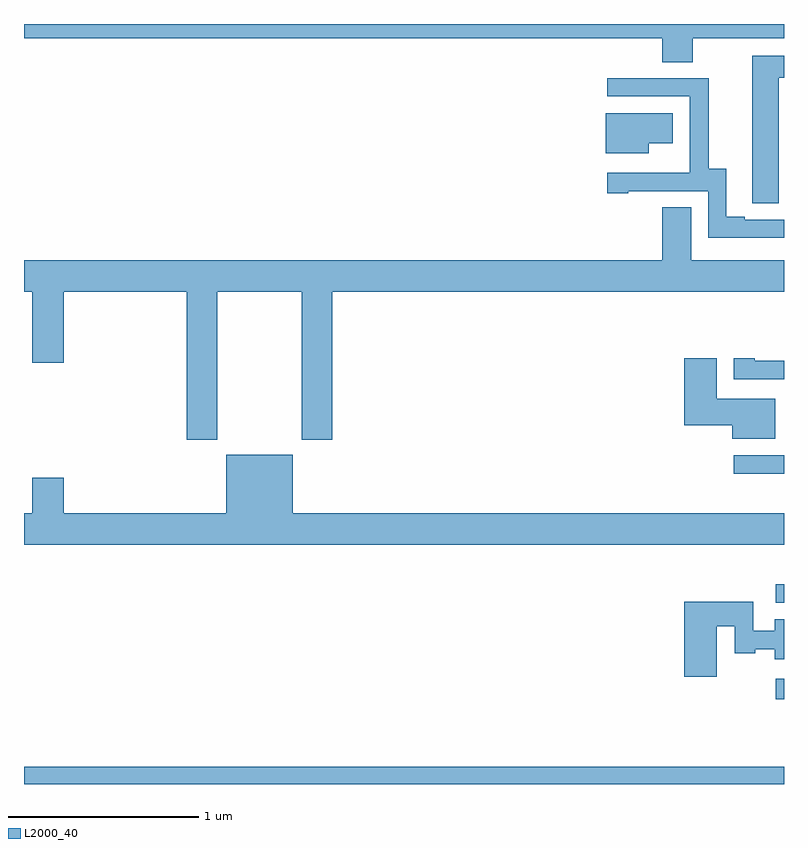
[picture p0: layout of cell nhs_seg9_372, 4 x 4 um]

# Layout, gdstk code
import gdstk
lib = gdstk.Library(unit=1e-6, precision=1e-09)
def R(c, l, rs):  # rectangles x0, y0, x1, y1
    for r in rs: c.add(gdstk.rectangle(r[:2], r[2:], *l))
def P(c, l, *ps):  # polygons
    for p in ps: c.add(gdstk.Polygon(p, *l))
L2000_40 = (2000, 40)

nhs_seg9_372 = lib.new_cell('nhs_seg9_372')
R(nhs_seg9_372, L2000_40, [(129,1188.5,133,1188.592), (132.957,1188.945,133,1189.053), (132.957,1189.455,133,1189.551), (132.735,1190.133,133,1190.229)])
P(nhs_seg9_372, L2000_40, [(132.519,1192.424),(133,1192.424),(133,1192.5),(129,1192.5),(129,1192.424),(132.359,1192.424),(132.359,1192.3),(132.519,1192.3)],
  [(132.973,1192.216),(133,1192.216),(133,1192.332),(132.833,1192.332),(132.833,1191.664),(132.834,1191.664),(132.834,1191.556),(132.973,1191.556)],
  [(133,1191.471),(132.793,1191.471),(132.793,1191.486),(132.697,1191.486),(132.697,1191.737),(132.603,1191.737),(132.603,1192.215),(132.069,1192.215),(132.069,1192.119),(132.504,1192.119),(132.504,1191.718),(132.503,1191.718),(132.503,1191.717),(132.069,1191.717),(132.069,1191.609),(132.181,1191.609),(132.181,1191.621),(132.6,1191.621),(132.6,1191.375),(133,1191.375)],
  [(132.289,1191.872),(132.415,1191.872),(132.415,1192.03),(132.062,1192.03),(132.062,1191.821),(132.289,1191.821)],
  [(130.017,1191.092),(130.462,1191.092),(130.462,1190.313),(130.622,1190.313),(130.622,1191.092),(133,1191.092),(133,1191.256),(132.511,1191.256),(132.511,1191.536),(132.359,1191.536),(132.359,1191.256),(129,1191.256),(129,1191.092),(129.044,1191.092),(129.044,1190.718),(129.208,1190.718),(129.208,1191.092),(129.857,1191.092),(129.857,1190.313),(130.017,1190.313)],
  [(132.955,1190.527),(132.646,1190.527),(132.646,1190.74),(132.476,1190.74),(132.476,1190.387),(132.728,1190.387),(132.728,1190.318),(132.955,1190.318)],
  [(133,1190.727),(132.847,1190.727),(132.847,1190.74),(132.735,1190.74),(132.735,1190.631),(133,1190.631)],
  [(133,1189.924),(130.414,1189.924),(130.414,1190.233),(130.064,1190.233),(130.064,1189.924),(129.208,1189.924),(129.208,1190.113),(129.044,1190.113),(129.044,1189.924),(129,1189.924),(129,1189.76),(133,1189.76)],
  [(132.646,1189.33),(132.741,1189.33),(132.741,1189.189),(132.849,1189.189),(132.849,1189.208),(132.95,1189.208),(132.95,1189.157),(133,1189.157),(133,1189.366),(132.95,1189.366),(132.95,1189.306),(132.837,1189.306),(132.837,1189.459),(132.476,1189.459),(132.476,1189.065),(132.646,1189.065)])

lib.write_gds('nhs_seg9_372.gds')
